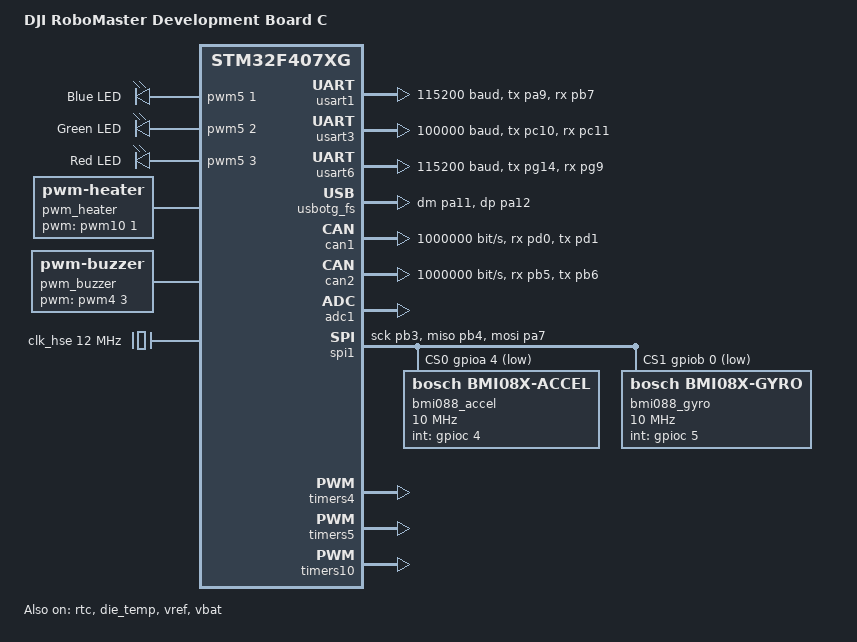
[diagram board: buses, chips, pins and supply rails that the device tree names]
/dts-v1/;
#include <st/f4/stm32f407Xg.dtsi>
#include <st/f4/stm32f407i(e-g)hx-pinctrl.dtsi>
#include <zephyr/dt-bindings/input/input-event-codes.h>

/ {
	model = "DJI RoboMaster Development Board C";
	compatible = "st";

	chosen {
		zephyr,console = &usart1;
		zephyr,shell-uart = &usart1;
		zephyr,sram = &sram0;
		zephyr,flash = &flash0;
		zephyr,dtcm = &ccm0;
		can1 = &can1;
		can2 = &can2;
	};

	pwmleds: pwmleds {
		compatible = "pwm-leds";
		status = "okay";

		pwm_blue_led: blue_led {
			pwms = <&pwm5 1 PWM_MSEC(20) PWM_POLARITY_NORMAL>;
			label = "Blue LED";
		};

		pwm_green_led: green_led {
			pwms = <&pwm5 2 PWM_MSEC(20) PWM_POLARITY_NORMAL>;
			label = "Green LED";
		};

		pwm_red_led: red_led {
			pwms = <&pwm5 3 PWM_MSEC(20) PWM_POLARITY_NORMAL>;
			label = "Red LED";
		};
	};

	pixel_led: pixel_led {
		compatible = "led-pixel-pwm";
		red-led = <&pwm_red_led>;
		green-led = <&pwm_green_led>;
		blue-led = <&pwm_blue_led>;
	};

	aliases {
		volt-sensor0 = &vref;
		volt-sensor1 = &vbat;
	};

};

&clk_lsi {
	status = "okay";
};

&clk_hse {
	clock-frequency = <DT_FREQ_M(12)>;
	status = "okay";
};

&pll {
	div-m = <6>;
	mul-n = <168>;
	div-p = <2>;
	div-q = <7>;
	clocks = <&clk_hse>;
	status = "okay";
};

&rcc {
	clocks = <&pll>;
	clock-frequency = <DT_FREQ_M(168)>;
	ahb-prescaler = <1>;
	apb1-prescaler = <4>;
	apb2-prescaler = <2>;
	status = "okay";
};

&usart1 {
	pinctrl-0 = <&usart1_tx_pa9 &usart1_rx_pb7>;
	pinctrl-names = "default";
	current-speed = <115200>;
	dmas = <&dma2 7 4 (STM32_DMA_PERIPH_TX | STM32_DMA_PRIORITY_HIGH) STM32_DMA_FIFO_HALF>,
		   <&dma2 5 4 (STM32_DMA_PERIPH_RX | STM32_DMA_PRIORITY_HIGH) STM32_DMA_FIFO_HALF>;
	dma-names = "tx", "rx";
	status = "okay";
};

&usart3 {
	pinctrl-0 = <&usart3_tx_pc10 &usart3_rx_pc11>;
	pinctrl-names = "default";
	current-speed = <100000>;
	dmas = <&dma1 3 4 (STM32_DMA_PERIPH_TX | STM32_DMA_PRIORITY_HIGH) STM32_DMA_FIFO_HALF>,
		   <&dma1 1 4 (STM32_DMA_PERIPH_RX | STM32_DMA_PRIORITY_HIGH) STM32_DMA_FIFO_HALF>;
	dma-names = "tx", "rx";
	status = "okay";
};

&usart6 {
	pinctrl-0 = <&usart6_tx_pg14 &usart6_rx_pg9>;
	pinctrl-names = "default";
	current-speed = <115200>;
	dmas = <&dma2 6 5 (STM32_DMA_PERIPH_TX | STM32_DMA_PRIORITY_HIGH) STM32_DMA_FIFO_HALF>,
		   <&dma2 2 5 (STM32_DMA_PERIPH_RX | STM32_DMA_PRIORITY_HIGH) STM32_DMA_FIFO_HALF>;
	dma-names = "tx", "rx";
	status = "okay";
};

&rtc {
	clocks = <&rcc STM32_CLOCK_BUS_APB1 0x10000000>,
			 <&rcc STM32_SRC_LSI RTC_SEL(2)>;
	status = "okay";

	backup_regs {
		status = "okay";
	};
};

zephyr_udc0: &usbotg_fs {
	pinctrl-0 = <&usb_otg_fs_dm_pa11 &usb_otg_fs_dp_pa12>;
	pinctrl-names = "default";
	status = "okay";

	cdc_acm_uart0: cdc_acm_uart0 {
		compatible = "zephyr,cdc-acm-uart";
		label = "Zephyr USB CDC-ACM";
	};
};

&can1 {
	pinctrl-0 = <&can1_rx_pd0 &can1_tx_pd1>;
	bitrate = <1000000>;
	sample-point = <875>;
	pinctrl-names = "default";
	status = "okay";
};

&can2 {
	pinctrl-0 = <&can2_rx_pb5 &can2_tx_pb6>;
	bitrate = <1000000>;
	sample-point = <875>;
	pinctrl-names = "default";
	status = "okay";
};

&adc1 {
	st,adc-prescaler = <4>;
	status = "okay";
};

&die_temp {
	status = "okay";
};

&vref {
	status = "okay";
};

&vbat {
	status = "okay";
};

&dma1 {
	status = "okay";
};

&dma2 {
	status = "okay";
};

&spi1 {
	pinctrl-0 = <&spi1_sck_pb3 &spi1_miso_pb4 &spi1_mosi_pa7>;
	pinctrl-names = "default";
	status = "okay";
	cs-gpios = <&gpioa 4 GPIO_ACTIVE_LOW>, <&gpiob 0 GPIO_ACTIVE_LOW>;

	bmi088_accel: bmi088_accel@0 {
		compatible = "bosch,bmi08x-accel";
		reg = <0>;
		spi-max-frequency = <10000000>;
		int-gpios = <&gpioc 4 GPIO_ACTIVE_HIGH>;
		accel-hz = "800";
		accel-fs = <4>;

		int1-map-io = <0x01>; /* 将数据就绪中断映射到INT1 */
		int1-conf-io = <0x0A>; /* 设置INT1为推挽输出和有效高电平 */
		int2-map-io = <0x00>;
		int2-conf-io = <0x17>;

		data-sync = <&bmi088_gyro>;
	};

	bmi088_gyro: bmi088_gyro@1 {
		compatible = "bosch,bmi08x-gyro";
		reg = <1>;
		spi-max-frequency = <10000000>;
		int-gpios = <&gpioc 5 GPIO_ACTIVE_HIGH>;
		gyro-hz = "1000_116";
		gyro-fs = <1000>;

		int3-4-map-io = <1>; /* 将数据就绪中断映射到INT3 */
		int3-4-conf-io = <1>; /* 设置INT3为有效高电平和推挽输出 */

		data-sync;
	};
};

&timers4 {
	status = "okay";
	st,prescaler = <167>;

	pwm4: pwm {
		status = "okay";
		pinctrl-0 = <&tim4_ch3_pd14>;
		pinctrl-names = "default";
	};
};

&timers5 {
	status = "okay";
	st,prescaler = <167>;

	pwm5: pwm {
		status = "okay";
		pinctrl-0 = <&tim5_ch3_ph12 &tim5_ch2_ph11 &tim5_ch1_ph10>;
		pinctrl-names = "default";
	};
};

&timers10 {
	status = "okay";
	st,prescaler = <167>;

	pwm10: pwm {
		status = "okay";
		pinctrl-0 = <&tim10_ch1_pf6>;
		pinctrl-names = "default";
	};
};

/ {
	pwm_heater: pwm-heater {
		compatible = "pwm-heater";
		pwms = <&pwm10 1 PWM_USEC(100) PWM_POLARITY_NORMAL>;
		temp-sensor = <&bmi088_accel>;
		temp-channel = <12>; /* SENSOR_CHAN_DIE_TEMP */
		status = "okay";
	};
};

/ {
	pwm_buzzer: pwm-buzzer {
		compatible = "pwm-buzzer";
		pwms = <&pwm4 3 PWM_MSEC(1) PWM_POLARITY_NORMAL>;
		base-frequency-hz = <440>;
		status = "okay";
	};
};
